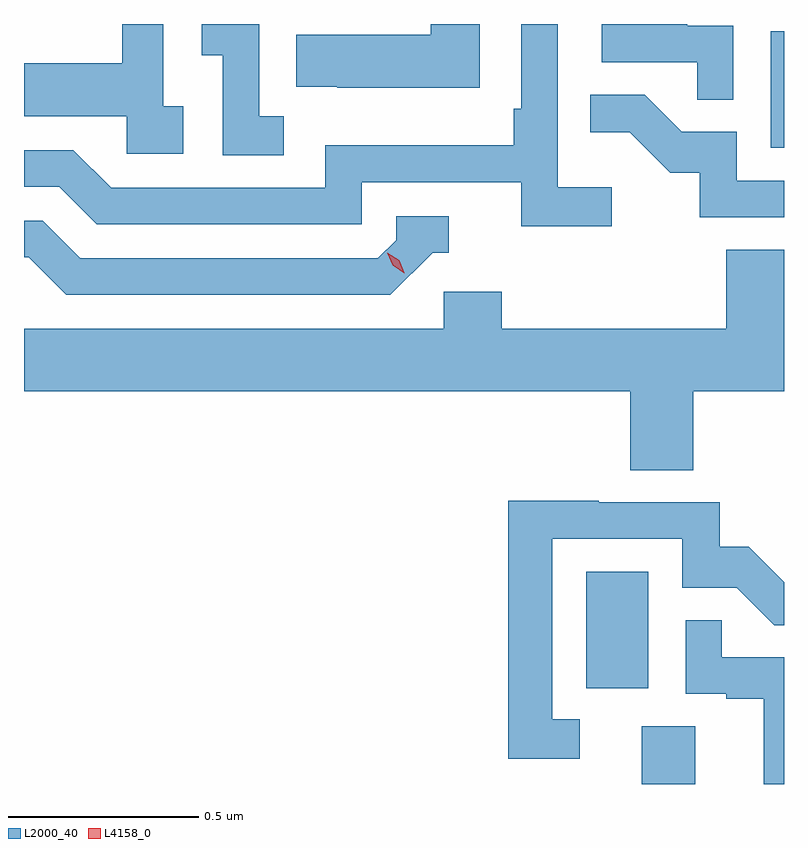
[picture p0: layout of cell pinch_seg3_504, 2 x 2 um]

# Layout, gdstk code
import gdstk
lib = gdstk.Library(unit=1e-6, precision=1e-09)
def R(c, l, rs):  # rectangles x0, y0, x1, y1
    for r in rs: c.add(gdstk.rectangle(r[:2], r[2:], *l))
def P(c, l, *ps):  # polygons
    for p in ps: c.add(gdstk.Polygon(p, *l))
L2000_40 = (2000, 40)
L4158_0 = (4158, 0)

pinch_seg3_504 = lib.new_cell('pinch_seg3_504')
R(pinch_seg3_504, L2000_40, [(1001.741,678.57,1001.881,678.722), (1001.594,678.822,1001.758,679.129), (1002.08,680.244,1002.115,680.551)])
P(pinch_seg3_504, L2000_40, [(1000.534,680.354),(1000.482,680.354),(1000.482,680.57),(1000.374,680.57),(1000.374,680.467),(1000.115,680.467),(1000.115,680.327),(1000.386,680.327),(1000.386,680.229),(1000.534,680.229)],
  [(1001.982,680.565),(1001.861,680.565),(1001.861,680.57),(1001.636,680.57),(1001.636,680.469),(1001.887,680.469),(1001.887,680.371),(1001.982,680.371)],
  [(1000.798,680.327),(1000.734,680.327),(1000.734,680.57),(1000.583,680.57),(1000.583,680.488),(1000.638,680.488),(1000.638,680.224),(1000.798,680.224)],
  [(1001.314,680.57),(1001.185,680.57),(1001.185,680.542),(1000.831,680.542),(1000.831,680.405),(1000.939,680.405),(1000.939,680.402),(1001.314,680.402)],
  [(1001.662,680.14),(1001.52,680.14),(1001.52,680.57),(1001.424,680.57),(1001.424,680.347),(1001.404,680.347),(1001.404,680.251),(1000.908,680.251),(1000.908,680.139),(1000.344,680.139),(1000.245,680.238),(1000.115,680.238),(1000.115,680.142),(1000.208,680.142),(1000.307,680.043),(1001.004,680.043),(1001.004,680.154),(1001.423,680.154),(1001.423,680.038),(1001.662,680.038)],
  [(1002.115,680.157),(1001.991,680.157),(1001.991,680.286),(1001.846,680.286),(1001.748,680.384),(1001.605,680.384),(1001.605,680.285),(1001.709,680.285),(1001.816,680.178),(1001.893,680.178),(1001.893,680.061),(1002.115,680.061)],
  [(1001.19,679.968),(1001.233,679.968),(1001.233,680.064),(1001.094,680.064),(1001.094,680.001),(1001.046,679.953),(1000.263,679.953),(1000.164,680.052),(1000.115,680.052),(1000.115,679.956),(1000.127,679.956),(1000.226,679.857),(1001.079,679.857)],
  [(1001.876,679.604),(1002.115,679.604),(1002.115,679.976),(1001.963,679.976),(1001.963,679.768),(1001.372,679.768),(1001.372,679.866),(1001.22,679.866),(1001.22,679.768),(1000.115,679.768),(1000.115,679.604),(1001.711,679.604),(1001.711,679.396),(1001.876,679.396)],
  [(1001.578,678.741),(1001.505,678.741),(1001.505,679.215),(1001.847,679.215),(1001.847,679.086),(1001.991,679.086),(1002.089,678.988),(1002.115,678.988),(1002.115,679.101),(1002.022,679.194),(1001.946,679.194),(1001.946,679.311),(1001.627,679.311),(1001.627,679.316),(1001.389,679.316),(1001.389,678.636),(1001.578,678.636)],
  [(1002.115,678.903),(1001.951,678.903),(1001.951,679.001),(1001.856,679.001),(1001.856,678.807),(1001.963,678.807),(1001.963,678.795),(1002.062,678.795),(1002.062,678.57),(1002.115,678.57)])
P(pinch_seg3_504, L4158_0, [(1001.116,679.914),(1001.086,679.935),(1001.071,679.968),(1001.071,679.968),(1001.071,679.968),(1001.102,679.948),(1001.116,679.915),(1001.116,679.914)])

lib.write_gds('pinch_seg3_504.gds')
